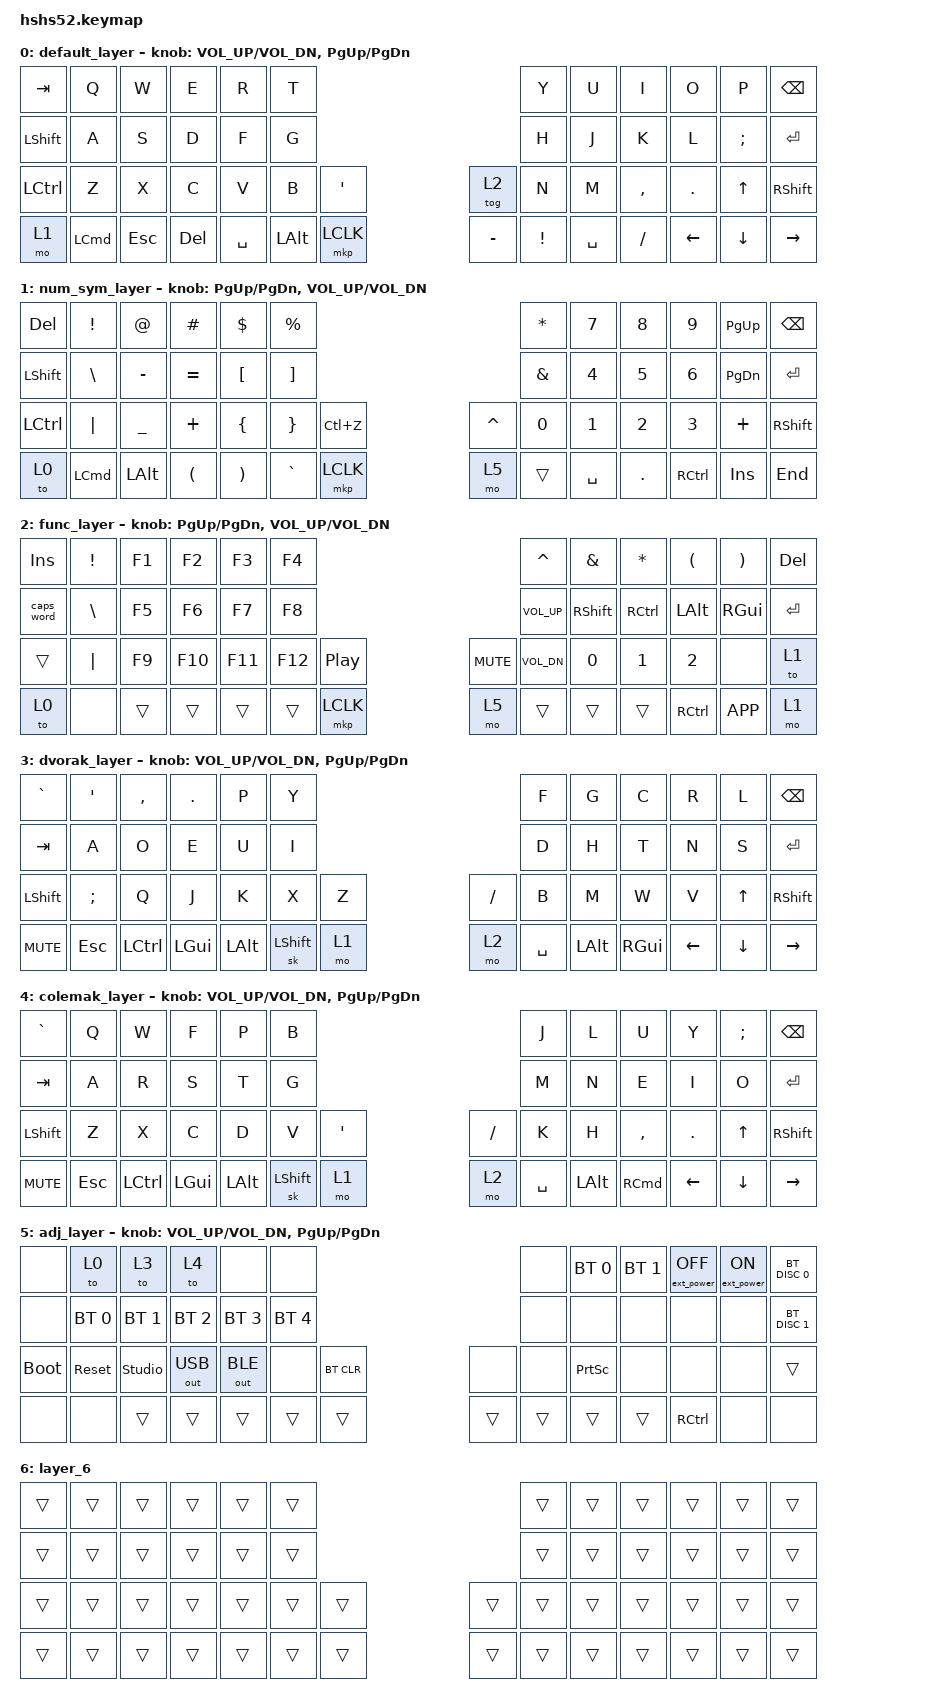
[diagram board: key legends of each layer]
/*
 * Copyright (c) 2021-2022 The ZMK Contributors
 *
 * SPDX-License-Identifier: MIT
 */

#include <behaviors.dtsi>
#include <dt-bindings/zmk/bt.h>
#include <dt-bindings/zmk/ext_power.h>
#include <dt-bindings/zmk/keys.h>
#include <dt-bindings/zmk/outputs.h>
#include <dt-bindings/zmk/pointing.h>

#define QWERTY_L 0
#define DVORAK_L 1
#define COLEMK_L 2
#define NAV_L    3
#define SYM_L    4
#define ADJ_L    5
#define Undo   LC(Z)
#define Cut    LC(X)
#define Copy   LC(C)
#define Paste  LC(V)
#define Redo   LC(Y)

/ {
    keymap {
        compatible = "zmk,keymap";

        default_layer {
            /* QWERTY
 * -------------------------------------------------------------------------------------------------------------------------------------
 * | `     |   Q   |   W   |   E   |   R   |   T   |-----------------------------------|   Y   |   U   |   I   |   O   |   P   | BKSPC |
 * | TAB   |   A   |   S   |   D   |   F   |   G   |-----------------------------------|   H   |   J   |   K   |   L   |   ;   | ENTER |
 * | SHIFT |   Z   |   X   |   C   |   V   |   B   |   '   |-------------------|   /   |   N   |   M   |   ,   |   .   |  Up   | SHIFT |
 * | Mute  |  ESC  | CTRL  |-------|  GUI  |  ALT  |SK SHFT|  Nav  |---|  Sym  | SPACE |  ALT  |  GUI  |-------| Left  | Down  | Right |
 */

            bindings = <
&kp TAB     &kp Q             &kp W       &kp E  &kp R    &kp T                                                    &kp Y      &kp U      &kp I      &kp O     &kp P         &kp BSPC
&kp LSHIFT  &kp A             &kp S       &kp D  &kp F    &kp G                                                    &kp H      &kp J      &kp K      &kp L     &kp SEMI      &kp ENTER
&kp LCTRL   &kp Z             &kp X       &kp C  &kp V    &kp B      &kp SQT                             &tog 2    &kp N      &kp M      &kp COMMA  &kp DOT   &kp UP_ARROW  &kp RSHFT
&mo 1       &kp LEFT_COMMAND  &kp ESCAPE         &kp DEL  &kp SPACE  &kp LEFT_ALT  &mkp LCLK  &kp MINUS  &kp EXCL  &kp SPACE  &kp SLASH             &kp LEFT  &kp DOWN      &kp RIGHT
            >;

            sensor-bindings = <&inc_dec_kp C_VOL_UP C_VOL_DN &inc_dec_kp PG_UP PG_DN>;
        };

        num_sym_layer {
            /* NAV
 * -------------------------------------------------------------------------------------------------------------------------------------
 * | Copy  |   1   |   2   |   3   |   4   |   5   |-----------------------------------|   6   |   7   |   8   |   9   |   0   | BSPC  |
 * | Cut   |  GUI  |  Alt  | Ctrl  | Shift | Paste |-----------------------------------| PG UP |  Left |  Up   |  Down | Right | PG DN |
 * | Shift |  F1   |  F2   |  F3   |  F4   |  F5   |  UnDo |-------------------| ReDo  |  F6   |  F7   |  F8   |  F9   |  F10  | Shift |
 * | F11   |  F12  |       |-------|       |       |       |       |---| ADJ_L |       |       |       |-------| CTRL  | HOME  |  END  |
 */

            bindings = <
&kp DELETE        &kp EXCL          &kp AT        &kp POUND  &kp DOLLAR            &kp PERCENT                                                    &kp STAR      &kp N7        &kp N8        &kp N9        &kp PAGE_UP    &kp BACKSPACE
&kp LEFT_SHIFT    &kp BACKSLASH     &kp MINUS     &kp EQUAL  &kp LEFT_BRACKET      &kp RIGHT_BRACKET                                              &kp AMPS      &kp NUMBER_4  &kp N5        &kp NUMBER_6  &kp PAGE_DOWN  &kp ENTER
&kp LEFT_CONTROL  &kp PIPE          &kp UNDER     &kp PLUS   &kp LEFT_BRACE        &kp RIGHT_BRACE        &kp Undo                     &kp CARET  &kp NUMBER_0  &kp NUMBER_1  &kp NUMBER_2  &kp NUMBER_3  &kp PLUS       &kp RIGHT_SHIFT
&to 0             &kp LEFT_COMMAND  &kp LEFT_ALT             &kp LEFT_PARENTHESIS  &kp RIGHT_PARENTHESIS  &kp GRAVE  &mkp LCLK  &mo 5  &trans     &kp SPACE     &kp PERIOD                  &kp RCTRL     &kp INS        &kp END
            >;

            sensor-bindings = <&inc_dec_kp PG_UP PG_DN &inc_dec_kp C_VOL_UP C_VOL_DN>;
        };

        func_layer {
            /* SYM
 * -------------------------------------------------------------------------------------------------------------------------------------
 * | INS   |   !   |   @   |   #   |   $   |   %   |-----------------------------------|   ^   |   &   |   *   |   (   |   )   | DELETE|
 * | CAPS  |   \   |   -   |   =   |   [   |   ]   |-----------------------------------| Vol+  | Shift | Ctrl  | Alt   | Gui   | ENTER |
 * | Shift |   |   |   _   |   +   |   {   |   }   | Play  |-------------------| Mute  | Vol-  |  N0   |  N1   |  N2   |       | SHIFT |
 * |       |       |       |-------|       |       |       |  ADJ_L |---|      |       |       |       |-------| CTRL  | MENU  |SkAltGr|
 */

            bindings = <
&kp INS     &kp EXCL  &kp F1  &kp F2   &kp F3   &kp F4                                           &kp CARET     &kp AMPS   &kp ASTRK  &kp LPAR   &kp RPAR   &kp DEL
&caps_word  &kp BSLH  &kp F5  &kp F6   &kp F7   &kp F8                                           &kp C_VOL_UP  &kp RSHFT  &kp RCTRL  &kp LALT   &kp RGUI   &kp ENTER
&trans      &kp PIPE  &kp F9  &kp F10  &kp F11  &kp F12  &kp C_PP                    &kp C_MUTE  &kp C_VOL_DN  &kp N0     &kp N1     &kp N2     &none      &to 1
&to 0       &none     &trans           &trans   &trans   &trans    &mkp LCLK  &mo 5  &trans      &trans        &trans                &kp RCTRL  &kp K_APP  &mo 1
            >;

            sensor-bindings = <&inc_dec_kp PG_UP PG_DN &inc_dec_kp C_VOL_UP C_VOL_DN>;
        };

        dvorak_layer {
            /* DVORAK
 * -------------------------------------------------------------------------------------------------------------------------------------
 * | `     |   '   |   ,   |   .   |   P   |   Y   |-----------------------------------|   F   |   G   |   C   |   R   |   L   | BKSPC |
 * | TAB   |   A   |   O   |   E   |   U   |   I   |-----------------------------------|   D   |   H   |   T   |   N   |   S   | ENTER |
 * | SHIFT |   ;   |   Q   |   J   |   K   |   X   |   Z   |-------------------|   /   |   B   |   M   |   W   |   V   |  Up   | SHIFT |
 * | Mute  |  ESC  | CTRL  |-------|  GUI  |  ALT  |SK SHFT|  Nav  |---|  Sym  | SPACE |  ALT  |  GUI  |-------| Left  | Down  | Right |
 */

            bindings = <
&kp GRAVE   &kp SQT   &kp COMMA  &kp DOT  &kp P     &kp Y                                          &kp F     &kp G     &kp C  &kp R     &kp L     &kp BSPC
&kp TAB     &kp A     &kp O      &kp E    &kp U     &kp I                                          &kp D     &kp H     &kp T  &kp N     &kp S     &kp ENTER
&kp LSHFT   &kp SEMI  &kp Q      &kp J    &kp K     &kp X     &kp Z                     &kp SLASH  &kp B     &kp M     &kp W  &kp V     &kp UP    &kp RSHFT
&kp C_MUTE  &kp ESC   &kp LCTRL           &kp LGUI  &kp LALT  &sk LSHIFT  &mo 1  &mo 2  &kp SPACE  &kp LALT  &kp RGUI         &kp LEFT  &kp DOWN  &kp RIGHT
            >;

            sensor-bindings = <&inc_dec_kp C_VOL_UP C_VOL_DN &inc_dec_kp PG_UP PG_DN>;
        };

        colemak_layer {
            /* COLEMAK-DH
 * -------------------------------------------------------------------------------------------------------------------------------------
 * | `     |   Q   |   W   |   F   |   P   |   B   |-----------------------------------|   J   |   L   |   U   |   Y   |   ;   | BKSPC |
 * | TAB   |   A   |   R   |   S   |   T   |   G   |-----------------------------------|   M   |   N   |   E   |   I   |   O   | ENTER |
 * | SHIFT |   Z   |   X   |   C   |   D   |   V   |   '   |-------------------|   /   |   K   |   H   |   ,   |   .   |  Up   | SHIFT |
 * | Mute  |  ESC  | CTRL  |-------|  GUI  |  ALT  |SK SHFT|  Nav  |---|  Sym  | SPACE |  ALT  |  GUI  |-------| Left  | Down  | Right |
 */

            bindings = <
&kp GRAVE   &kp Q    &kp W      &kp F  &kp P     &kp B                                          &kp J     &kp L              &kp U      &kp Y     &kp SEMI  &kp BSPC
&kp TAB     &kp A    &kp R      &kp S  &kp T     &kp G                                          &kp M     &kp N              &kp E      &kp I     &kp O     &kp ENTER
&kp LSHFT   &kp Z    &kp X      &kp C  &kp D     &kp V     &kp SQT                   &kp SLASH  &kp K     &kp H              &kp COMMA  &kp DOT   &kp UP    &kp RSHFT
&kp C_MUTE  &kp ESC  &kp LCTRL         &kp LGUI  &kp LALT  &sk LSHIFT  &mo 1  &mo 2  &kp SPACE  &kp LALT  &kp RIGHT_COMMAND             &kp LEFT  &kp DOWN  &kp RIGHT
            >;

            sensor-bindings = <&inc_dec_kp C_VOL_UP C_VOL_DN &inc_dec_kp PG_UP PG_DN>;
        };

        adj_layer {
            /* ADJUST
 * -------------------------------------------------------------------------------------------------------------------------------------
 * |       | QWERTY| DVORAK| COLEMK|       |       |-----------------------------------|       |Prt Scr|       | EP_OFF| EP_ON |       |
 * |       | BT 0  | BT 1  | BT 2  | BT 3  | BT 4  |-----------------------------------|       |       |       |       |       |       |
 * | BOOTL | RESET | STUDIO|OUT_USB|OUT_BLE|       |BT CLR |-------------------|       |       |       |       |       |       | SHIFT |
 * ----------------|       |-------|       |       |       |       |---|       |       |       |       |-------| CTRL  |----------------
 */

            bindings = <
&none        &to 0         &to 3           &to 4         &none         &none                                             &none   &bt BT_SEL 0     &bt BT_SEL 1  &ext_power EP_OFF  &ext_power EP_ON  &bt BT_DISC 0
&none        &bt BT_SEL 0  &bt BT_SEL 1    &bt BT_SEL 2  &bt BT_SEL 3  &bt BT_SEL 4                                      &none   &none            &none         &none              &none             &bt BT_DISC 1
&bootloader  &sys_reset    &studio_unlock  &out OUT_USB  &out OUT_BLE  &none         &bt BT_CLR                  &none   &none   &kp PRINTSCREEN  &none         &none              &none             &trans
&none        &none         &trans                        &trans        &trans        &trans      &trans  &trans  &trans  &trans  &trans                         &kp RCTRL          &none             &none
            >;

            sensor-bindings = <&inc_dec_kp C_VOL_UP C_VOL_DN &inc_dec_kp PG_UP PG_DN>;
        };

        layer_6 {
            bindings = <
&trans  &trans  &trans  &trans  &trans  &trans                                  &trans  &trans  &trans  &trans  &trans  &trans
&trans  &trans  &trans  &trans  &trans  &trans                                  &trans  &trans  &trans  &trans  &trans  &trans
&trans  &trans  &trans  &trans  &trans  &trans  &trans                  &trans  &trans  &trans  &trans  &trans  &trans  &trans
&trans  &trans  &trans          &trans  &trans  &trans  &trans  &trans  &trans  &trans  &trans          &trans  &trans  &trans
            >;
        };
    };
};
